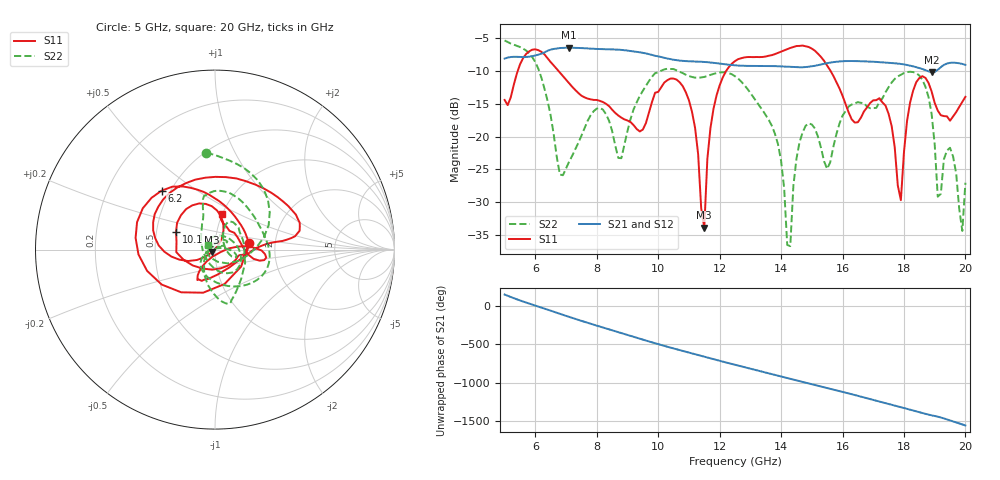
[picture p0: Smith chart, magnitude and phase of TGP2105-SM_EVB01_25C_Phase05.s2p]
! Date: Wednesday, June 05, 2013  1:49 PM
! Filename: C:\Data\Mike_Arnold\TGP2105-SM\Over_Temp\TGP2105-SM_EVB01_25C_Phase5.s2p
! Comments:
!^VDC(V):5.000
!^VDC(mA):0.090
!%Freq(GHz),S11(dB),S11(ang),S21(dB),S21(ang),S12(dB),S12(ang),S22(dB),S22(ang)
# GHz  S  DB  R  50
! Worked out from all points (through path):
!   151 points, 5 GHz to 20 GHz, reference 50 ohm
!   highest |S21| = -6.44 dB at 7.1 GHz (marker M1); lowest = -10.2 dB at 18.9 GHz (marker M2)
!   lowest |S11| = -33.9 dB at 11.5 GHz (marker M3), VSWR 1.04, Z = 48.5 - j1.27 ohm
!   |S11| at or under -10 dB: start of sweep to 5.426 GHz; 6.755 GHz to 12.21 GHz (5.454 GHz wide, 57.5 % of centre); 15.61 GHz to end of sweep
!   |S22| runs from -36.7 to -5.3 dB; largest |S21 - S12| = 0.002
!   S11 on the Smith chart (normalised r, x): 5 GHz: 1.46, +0.10; 6.2 GHz: 0.45, +0.37; 10.1 GHz: 0.63, +0.13; 20 GHz: 1.00, +0.41
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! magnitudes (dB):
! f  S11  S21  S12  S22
! 5 GHz  -14.4  -8.1  -8.1  -5.3
! 6.2 GHz  -7.1  -7.3  -7.4  -11.1
! 7.1 GHz  -11.9  -6.4  -6.5  -23.8
! 7.5 GHz  -13.8  -6.5  -6.5  -19.9
! 8.8 GHz  -17.1  -6.8  -6.8  -23.3
! 10 GHz  -13.2  -7.7  -7.8  -10.2
! 10.1 GHz  -12.5  -7.9  -7.9  -9.9
! 11 GHz  -14.5  -8.5  -8.5  -10.8
! 11.5 GHz  -33.9  -8.6  -8.6  -10.9
! 11.8 GHz  -15.8  -8.7  -8.8  -10.4
! 12.5 GHz  -8.5  -9.1  -9.1  -10.8
! 13.8 GHz  -7.4  -9.2  -9.3  -19.6
! 14.2 GHz  -6.7  -9.3  -9.4  -36.5
! 15 GHz  -6.6  -9.3  -9.3  -18.2
! 15.5 GHz  -9.2  -8.8  -8.8  -24.9
! 17.5 GHz  -16.5  -8.7  -8.8  -12.5
! 17.9 GHz  -29.7  -8.9  -8.9  -10.6
! 18.3 GHz  -13.0  -9.3  -9.3  -10.2
! 18.9 GHz  -13.1  -10.2  -10.2  -16.5
! 19.1 GHz  -16.0  -9.8  -9.9  -29.2
! 19.9 GHz  -14.7  -8.9  -8.9  -34.4
! 20 GHz  -13.9  -9.0  -9.1  -27.1
